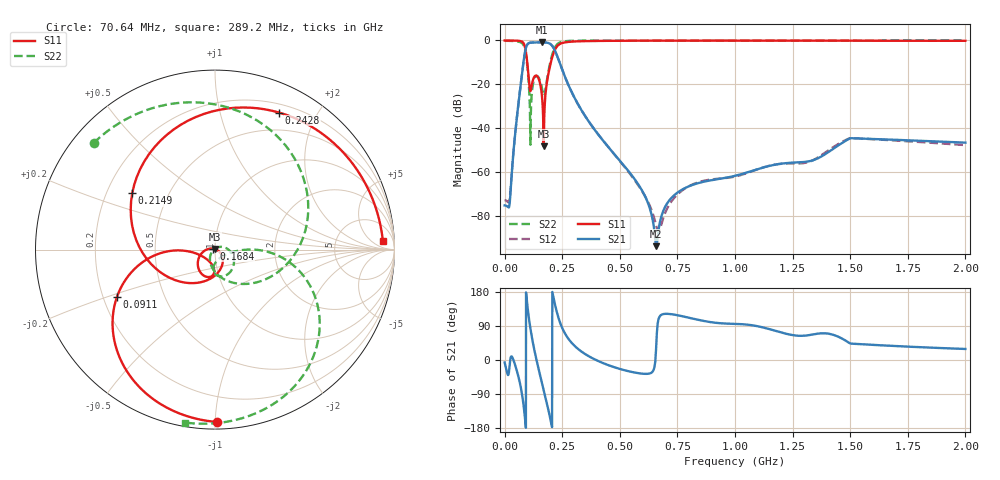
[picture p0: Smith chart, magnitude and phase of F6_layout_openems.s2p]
! Created with skrf 2.2.0 (http://scikit-rf.org).
# MHz S RI R 50.0
! Port[1] = P1
! Port[2] = P2
!freq ReS11 ImS11 ReS21 ImS21 ReS12 ImS12 ReS22 ImS22
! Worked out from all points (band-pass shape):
!   2001 points, 50 kHz to 2 GHz, reference 50 ohm
!   highest |S21| = -0.85 dB at 163.2 MHz (marker M1); lowest = -93.5 dB at 657.4 MHz (marker M2)
!   |S21| within 3 dB of the highest: 91.52 MHz to 215.1 MHz (123.5 MHz wide, 80.6 % of centre)
!   lowest |S11| = -48.1 dB at 169.3 MHz (marker M3), VSWR 1.01, Z = 49.8 + j0.349 ohm
!   |S11| at or under -10 dB: 98.31 MHz to 200.8 MHz (102.5 MHz wide, 68.5 % of centre)
!   |S22| runs from -47.4 to 0.0 dB; largest |S21 - S12| = 0.0012
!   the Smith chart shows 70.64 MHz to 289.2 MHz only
!   S11 on the Smith chart (normalised r, x): 70.64 MHz: 0.04, -1.01; 91.1 MHz: 0.26, -0.21; 168.4 MHz: 0.98, +0.01; 214.9 MHz: 0.31, +0.28; 242.8 MHz: 0.29, +1.53; 289.2 MHz: 18, +15
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0.05  0.9958 -0.00453  0.000177 -2.01e-05  0.000233 -3.09e-05  0.9796 -0.0205
0.2934364  0.9958 -0.00864  0.000177 -2.21e-05  0.000233 -3.28e-05  0.9792 -0.0348
1.712999  0.9953 -0.0326  0.000175 -3.36e-05  0.00023 -4.36e-05  0.9725 -0.1184
10  0.9806 -0.1723  0.000147 -8.97e-05  0.000202 -9.62e-05  0.8002 -0.5646
22.49353  0.9174 -0.3847  0.000207 -3.59e-05  0.000258 -4.58e-05  0.231 -0.949
58.68728  0.3754 -0.9074  0.0239 -0.0207  0.024 -0.0207  -0.9389 0.00244
70.64478  0.00993 -0.9603  0.0311 -0.1025  0.0312 -0.1026  -0.6758 0.594
81.07871  -0.4019 -0.7851  -0.1174 -0.271  -0.1175 -0.2712  0.0295 0.803
91.10233  -0.5458 -0.2623  -0.6178 -0.1126  -0.6183 -0.1125  0.5119 0.1447
113.808  -0.0281 -0.0699  0.2075 0.8663  0.2083 0.8666  0.0175 0.0132
136.2724  -0.0506 -0.1507  0.8929 0.0963  0.8932 0.0954  0.0735 -0.1355
163.1709  -0.0473 -0.000117  0.4139 -0.8063  0.4131 -0.8067  -0.000369 -0.0772
168.4415  -0.00839 0.00502  0.2198 -0.8785  0.2189 -0.8786  0.0192 -0.054
169.3363  -0.00178 0.0035  0.1853 -0.8861  0.1844 -0.8861  0.0234 -0.0504
195.379  -0.1483 -0.1862  -0.7071 -0.4695  -0.7072 -0.4688  0.2712 -0.007
214.9297  -0.4611 0.3139  -0.5925 0.252  -0.592 0.2523  0.5633 -0.28
242.784  0.3579 0.7633  -0.0254 0.2732  -0.0253 0.2731  0.3585 -0.8371
289.1705  0.9352 0.0502  0.0483 0.0512  0.0483 0.0512  -0.1693 -0.9637
342.5997  0.8033 -0.5284  0.0207 0.00691  0.0207 0.00693  -0.4741 -0.8683
657.3758  -0.584 -0.7962  1.88e-05 9.78e-06  6.31e-05 8.61e-06  -0.9088 -0.4091
1110.748  -0.9446 0.3  5.47e-05 0.00124  2.87e-05 0.00125  -0.9894 -0.1278
2000  0.3702 0.907  0.00416 0.00232  0.00402 0.00115  -0.9863 0.1445
